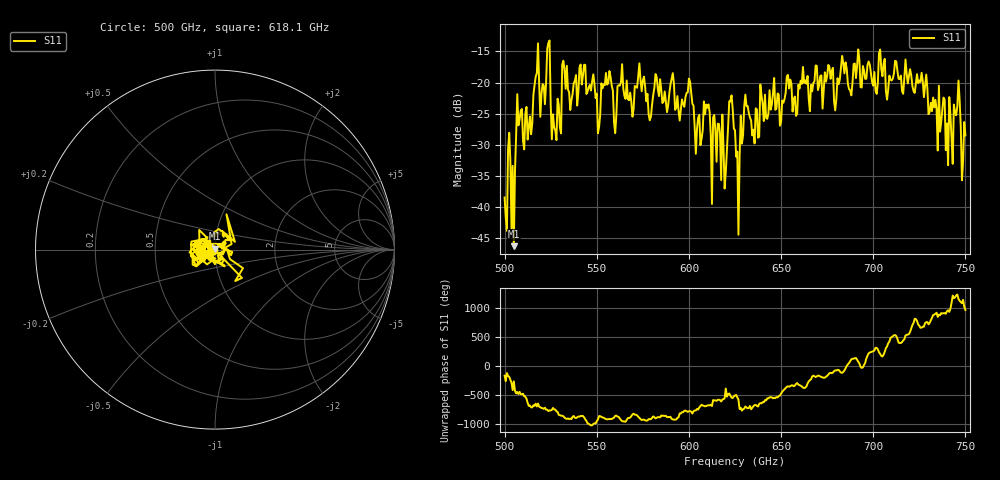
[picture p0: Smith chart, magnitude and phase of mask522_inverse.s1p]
!Created with skrf (http://scikit-rf.org).
# GHz S MA R 50.0
!freq magS11 angS11
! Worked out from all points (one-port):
!   401 points, 500 GHz to 750 GHz, reference 50 ohm
!   lowest |S11| = -46.2 dB at 505 GHz (marker M1), VSWR 1.01, Z = 50 + j0.486 ohm
!   |S11| at or under -10 dB: start of sweep to end of sweep
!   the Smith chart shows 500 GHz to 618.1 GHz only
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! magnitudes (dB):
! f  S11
! 500 GHz  -38.4
! 503.1 GHz  -32.6
! 505 GHz  -46.2
! 507.5 GHz  -26.9
! 513.8 GHz  -25.4
! 516.9 GHz  -19.0
! 520.6 GHz  -20.3
! 523.8 GHz  -13.6
! 526.9 GHz  -27.2
! 531.2 GHz  -17.1
! 542.5 GHz  -18.9
! 550.6 GHz  -28.1
! 562.5 GHz  -20.5
! 593.8 GHz  -22.2
! 605 GHz  -25.6
! 609.4 GHz  -23.5
! 618.8 GHz  -30.4
! 622.5 GHz  -23.0
! 625 GHz  -27.6
! 626.2 GHz  -31.1
! 631.2 GHz  -23.8
! 634.4 GHz  -28.5
! 656.2 GHz  -24.6
! 687.5 GHz  -21.2
! 718.8 GHz  -20.1
! 741.9 GHz  -25.2
! 745.6 GHz  -23.8
! 750 GHz  -28.5
